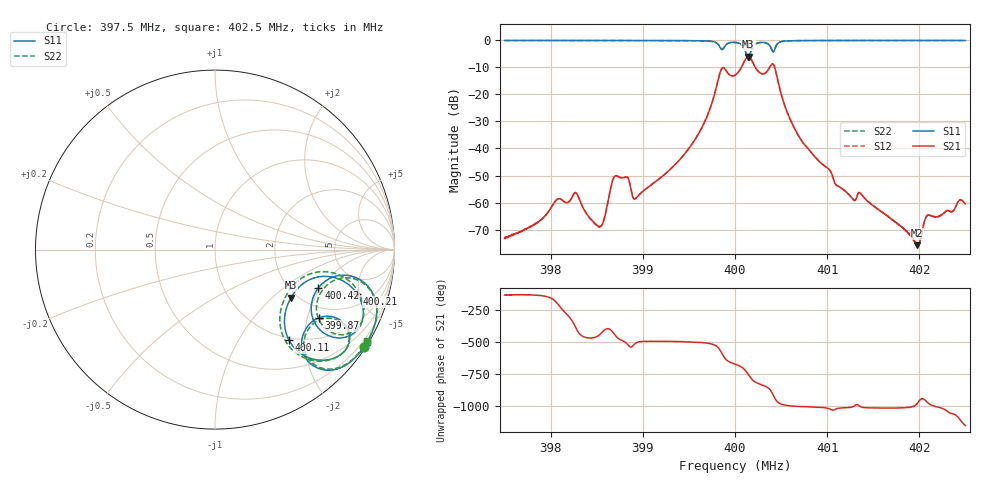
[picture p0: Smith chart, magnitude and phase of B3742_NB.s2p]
! S-Parameter for B3742 in Touchstone format with Magnitude (lin) and Phase
! Normalised impedance: 50 Ohm. Measurement system: 50 Ohm. Ta=20°C
! B3742_NB.S2P not matched. Measurement full 2-port calibrated incl. Port.Ext.
! Start: 397.5 MHz, Stop: 402.5MHz, Span 5MHz 1601 Pts., Step 3.1kHz.
! Date: 08/11/07 - EPCOS SAW COM WT AE PD; GS
! Please see data sheet recommendation for balanced operation.
! port | pin | signal
!  1  |  1  |  input
!  2  |  4  |  output
# MHZ S MA R 50
! freq  magS11 angS11  magS21 angS21  magS12 angS12  magS22 angS22
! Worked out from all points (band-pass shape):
!   1601 points, 397.5 MHz to 402.5 MHz, reference 50 ohm
!   highest |S21| = -6.15 dB at 400.15 MHz (marker M1); lowest = -75.8 dB at 401.98 MHz (marker M2)
!   |S21| within 3 dB of the highest: 400.0822 MHz to 400.207 MHz (124.9 kHz wide, 0.0312 % of centre); 400.3902 MHz to 400.4203 MHz (30.15 kHz wide, 0.00753 % of centre)
!   lowest |S11| = -6.0 dB at 400.14 MHz (marker M3), VSWR 3.01, Z = 92.9 - j66.2 ohm
!   |S11| at or under -10 dB: nowhere
!   |S22| runs from -6.5 to -0.1 dB; largest |S21 - S12| = 0.0014
!   S11 on the Smith chart (normalised r, x): 397.5 MHz: 0.05, -3.34; 399.87 MHz: 1.62, -2.36; 400.11 MHz: 0.96, -1.68; 400.21 MHz: 2.98, -4.75; 400.42 MHz: 2.77, -1.89; 402.5 MHz: 0.06, -3.56
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397.5  0.9917 -33.4  0.0002161 -131.5  0.0002157 -131.2  0.9892 -33.2
398.0781  0.9902 -33.8  0.00117 158.6  0.001164 158.6  0.9877 -33.6
398.3344  0.9901 -34.0  0.0009362 -89.3  0.000927 -89.2  0.988 -33.8
398.5344  0.9904 -34.3  0.0003539 -80.3  0.0003592 -80.4  0.988 -34.1
398.7  0.9882 -34.4  0.003111 -87.5  0.003113 -87.3  0.9864 -34.3
398.9156  0.99 -34.9  0.001175 -152.1  0.001173 -152.4  0.9875 -34.7
399.1687  0.9895 -35.7  0.002678 -133.7  0.002679 -133.7  0.9872 -35.5
399.5938  0.9823 -39.1  0.0174 -141.7  0.01741 -141.5  0.9799 -38.9
399.8719  0.6918 -33.3  0.3122 113.2  0.312 113.3  0.7027 -33.7
400  0.9149 -39.2  0.2259 46.6  0.2261 46.8  0.9128 -39.8
400.1094  0.6529 -50.8  0.4318 -1.0  0.4312 -0.9  0.635 -52.3
400.1438  0.501 -32.2  0.4905 -33.9  0.4903 -33.8  0.472 -31.5
400.15  0.5052 -26.7  0.4924 -40.2  0.4922 -40.1  0.4782 -25.4
400.2125  0.8304 -17.3  0.3344 -90.9  0.3347 -90.8  0.8227 -15.8
400.3562  0.8616 -34.8  0.2778 -138.0  0.2781 -137.9  0.8635 -33.2
400.4187  0.6144 -20.2  0.3525 157.6  0.3521 157.7  0.6415 -20.0
400.5969  0.9784 -23.5  0.03519 78.8  0.03473 78.9  0.9781 -23.5
400.8344  0.9889 -27.5  0.008103 69.3  0.008101 69.4  0.9873 -27.4
401.6687  0.9918 -30.5  0.0005348 60.5  0.0005334 61.1  0.9896 -30.3
401.9781  0.9917 -30.9  0.0001622 96.4  0.000167 97.4  0.9897 -30.7
402.0875  0.9915 -31.0  0.0005838 106.1  0.0005785 106.5  0.9894 -30.9
402.5  0.991 -31.3  0.0009435 -75.3  0.0009416 -75.0  0.989 -31.2
